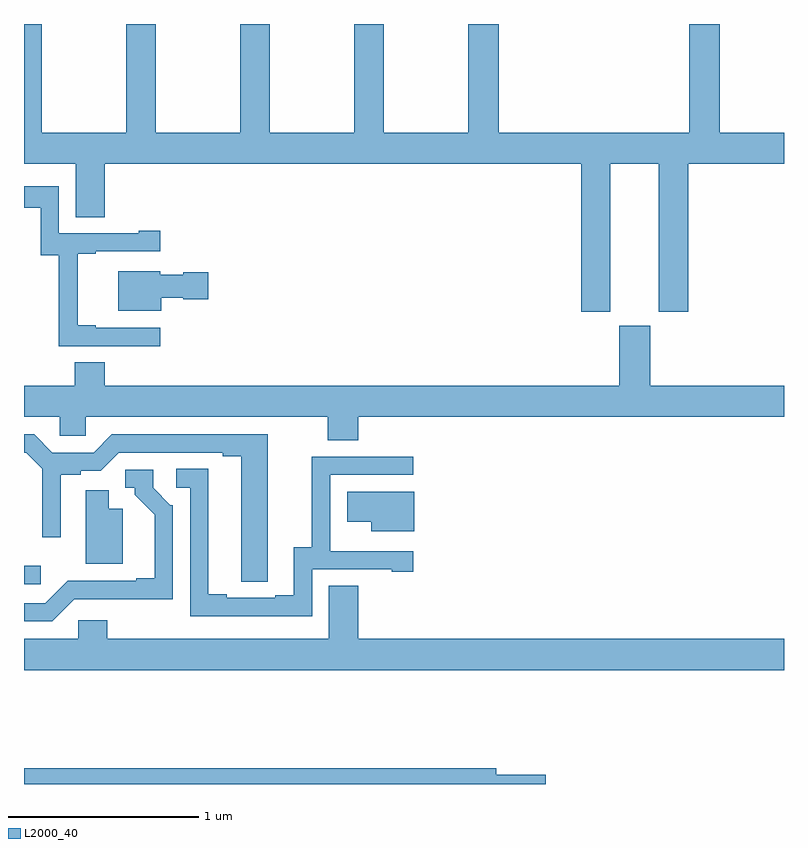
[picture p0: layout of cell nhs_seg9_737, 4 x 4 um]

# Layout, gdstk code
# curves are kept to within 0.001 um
import gdstk
lib = gdstk.Library(unit=1e-6, precision=1e-09)
def R(c, l, rs):  # rectangles x0, y0, x1, y1
    for r in rs: c.add(gdstk.rectangle(r[:2], r[2:], *l))
def P(c, l, *ps):  # polygons
    for p in ps: c.add(gdstk.Polygon(p, *l))
L2000_40 = (2000, 40)

nhs_seg9_737 = lib.new_cell('nhs_seg9_737')
R(nhs_seg9_737, L2000_40, [(149,1183.551,149.089,1183.648)])
P(nhs_seg9_737, L2000_40, [(152.086,1185.764),(152.342,1185.764),(152.342,1184.985),(152.495,1184.985),(152.495,1185.764),(153,1185.764),(153,1185.928),(152.661,1185.928),(152.661,1186.5),(152.501,1186.5),(152.501,1185.928),(151.499,1185.928),(151.499,1186.5),(151.339,1186.5),(151.339,1185.928),(150.894,1185.928),(150.894,1186.5),(150.739,1186.5),(150.739,1185.928),(150.294,1185.928),(150.294,1186.5),(150.139,1186.5),(150.139,1185.928),(149.694,1185.928),(149.694,1186.5),(149.539,1186.5),(149.539,1185.928),(149.094,1185.928),(149.094,1186.5),(149,1186.5),(149,1185.764),(149.273,1185.764),(149.273,1185.484),(149.426,1185.484),(149.426,1185.764),(151.934,1185.764),(151.934,1184.985),(152.086,1184.985)],
  [(149.716,1184.901),(149.377,1184.901),(149.377,1184.914),(149.282,1184.914),(149.282,1185.291),(149.377,1185.291),(149.377,1185.303),(149.716,1185.303),(149.716,1185.412),(149.603,1185.412),(149.603,1185.399),(149.184,1185.399),(149.184,1185.645),(149,1185.645),(149,1185.534),(149.087,1185.534),(149.087,1185.283),(149.182,1185.283),(149.182,1184.805),(149.716,1184.805)],
  [(149.722,1185.059),(149.838,1185.059),(149.838,1185.052),(149.971,1185.052),(149.971,1185.194),(149.838,1185.194),(149.838,1185.181),(149.718,1185.181),(149.718,1185.199),(149.495,1185.199),(149.495,1184.99),(149.722,1184.99)],
  [(150.758,1184.432),(153,1184.432),(153,1184.596),(152.296,1184.596),(152.296,1184.913),(152.132,1184.913),(152.132,1184.596),(149.426,1184.596),(149.426,1184.72),(149.266,1184.72),(149.266,1184.596),(149,1184.596),(149,1184.432),(149.187,1184.432),(149.187,1184.334),(149.325,1184.334),(149.325,1184.432),(150.598,1184.432),(150.598,1184.308),(150.758,1184.308)],
  [(150.282,1183.672),(150.283,1184.34),(149.463,1184.34),(149.367,1184.244),(149.149,1184.244),(149.053,1184.34),(149,1184.34),(149,1184.244),(149.013,1184.244),(149.097,1184.16),(149.097,1183.8),(149.194,1183.8),(149.194,1184.128),(149.298,1184.128),(149.298,1184.148),(149.403,1184.148),(149.499,1184.244),(150.047,1184.244),(150.047,1184.224),(150.143,1184.224),(150.143,1183.564),(150.282,1183.564)],
  [(150.516,1183.629),(150.935,1183.629),(150.935,1183.617),(151.048,1183.617),(151.048,1183.725),(150.614,1183.725),(150.614,1183.726),(150.612,1183.726),(150.612,1184.127),(151.048,1184.127),(151.048,1184.223),(150.514,1184.223),(150.514,1183.745),(150.419,1183.745),(150.419,1183.494),(150.323,1183.494),(150.323,1183.479),(150.067,1183.479),(150.067,1183.499),(149.971,1183.499),(149.971,1184.159),(149.802,1184.159),(149.802,1184.058),(149.874,1184.058),(149.874,1183.383),(150.516,1183.383)],
  [(149.265,1183.473),(149.784,1183.472),(149.784,1183.968),(149.769,1183.968),(149.679,1184.058),(149.679,1184.154),(149.532,1184.154),(149.532,1184.058),(149.582,1184.058),(149.582,1184.023),(149.687,1183.918),(149.687,1183.582),(149.591,1183.582),(149.591,1183.569),(149.229,1183.569),(149.112,1183.452),(149,1183.452),(149,1183.356),(149.148,1183.356)],
  [(149.521,1183.948),(149.446,1183.948),(149.446,1184.047),(149.324,1184.047),(149.324,1183.658),(149.521,1183.658)],
  [(151.054,1184.038),(150.702,1184.038),(150.702,1183.88),(150.827,1183.88),(150.827,1183.829),(151.054,1183.829)],
  [(153,1183.264),(150.758,1183.264),(150.758,1183.544),(150.605,1183.544),(150.605,1183.264),(149.438,1183.264),(149.438,1183.362),(149.286,1183.362),(149.286,1183.264),(149,1183.264),(149,1183.1),(153,1183.1)],
  [(151.747,1182.548),(151.486,1182.548),(151.486,1182.584),(149,1182.584),(149,1182.5),(151.747,1182.5)])

lib.write_gds('nhs_seg9_737.gds')
